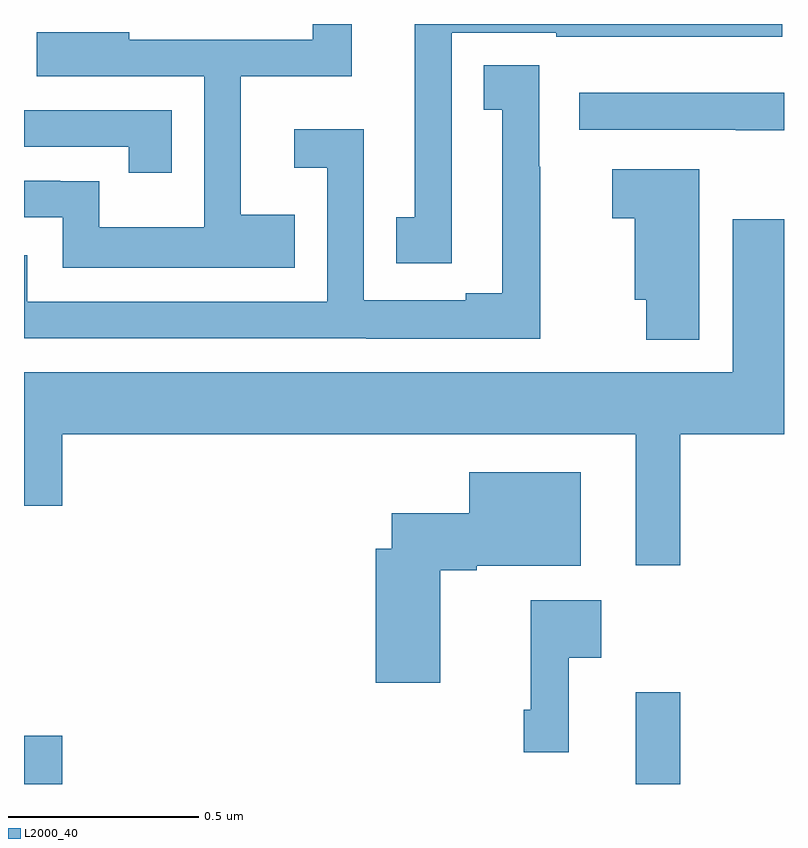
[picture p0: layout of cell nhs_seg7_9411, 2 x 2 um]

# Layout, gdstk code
import gdstk
lib = gdstk.Library(unit=1e-6, precision=1e-09)
def R(c, l, rs):  # rectangles x0, y0, x1, y1
    for r in rs: c.add(gdstk.rectangle(r[:2], r[2:], *l))
def P(c, l, *ps):  # polygons
    for p in ps: c.add(gdstk.Polygon(p, *l))
L2000_40 = (2000, 40)

nhs_seg7_9411 = lib.new_cell('nhs_seg7_9411')
R(nhs_seg7_9411, L2000_40, [(237,1029,237.1,1029.127), (238.61,1029,238.727,1029.241)])
P(nhs_seg7_9411, L2000_40, [(237.713,1030.498),(237.571,1030.498),(237.571,1030.862),(237.862,1030.862),(237.862,1031),(237.76,1031),(237.76,1030.959),(237.277,1030.959),(237.277,1030.978),(237.033,1030.978),(237.033,1030.863),(237.474,1030.863),(237.474,1030.465),(237.198,1030.465),(237.198,1030.586),(237.095,1030.586),(237.095,1030.587),(237,1030.587),(237,1030.491),(237.102,1030.491),(237.102,1030.358),(237.713,1030.358)],
  [(238.126,1030.694),(238.125,1030.694),(238.125,1030.977),(238.401,1030.977),(238.401,1030.967),(238.996,1030.967),(238.996,1031),(238.028,1031),(238.028,1030.491),(237.979,1030.491),(237.979,1030.371),(238.126,1030.371)],
  [(238.359,1030.625),(238.356,1030.625),(238.356,1030.892),(238.21,1030.892),(238.21,1030.774),(238.259,1030.774),(238.259,1030.291),(238.163,1030.291),(238.163,1030.273),(237.894,1030.273),(237.894,1030.723),(237.711,1030.723),(237.711,1030.622),(237.798,1030.622),(237.798,1030.269),(237.009,1030.269),(237.009,1030.392),(237,1030.392),(237,1030.173),(237.901,1030.173),(237.901,1030.172),(238.359,1030.172)],
  [(239,1030.819),(238.461,1030.819),(238.461,1030.722),(238.873,1030.722),(238.873,1030.72),(239,1030.72)],
  [(237.389,1030.773),(237,1030.773),(237,1030.677),(237.276,1030.677),(237.276,1030.608),(237.389,1030.608)],
  [(238.777,1030.618),(238.548,1030.618),(238.548,1030.489),(238.607,1030.489),(238.607,1030.274),(238.637,1030.274),(238.637,1030.169),(238.777,1030.169)],
  [(238.727,1029.92),(239,1029.92),(239,1030.486),(238.865,1030.486),(238.865,1030.084),(237,1030.084),(237,1029.732),(237.1,1029.732),(237.1,1029.92),(238.61,1029.92),(238.61,1029.576),(238.727,1029.576)],
  [(238.096,1029.563),(238.192,1029.563),(238.192,1029.575),(238.465,1029.575),(238.465,1029.82),(238.172,1029.82),(238.172,1029.712),(237.968,1029.712),(237.968,1029.619),(237.926,1029.619),(237.926,1029.267),(238.096,1029.267)],
  [(238.433,1029.332),(238.519,1029.332),(238.519,1029.484),(238.333,1029.484),(238.333,1029.196),(238.315,1029.196),(238.315,1029.084),(238.433,1029.084)])

lib.write_gds('nhs_seg7_9411.gds')
